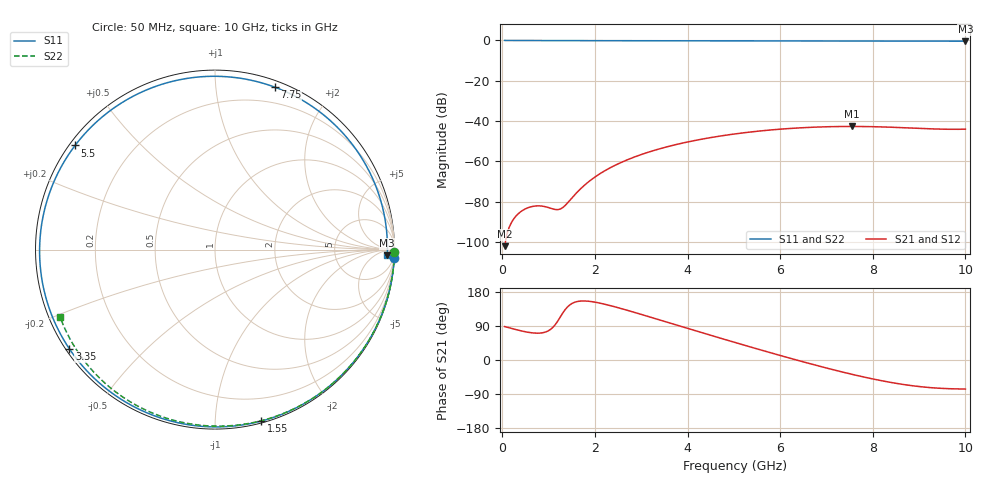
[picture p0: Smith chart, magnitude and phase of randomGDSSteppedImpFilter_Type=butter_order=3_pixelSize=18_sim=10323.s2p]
! freq	dB(S11)	phase(S11)	dB(S12)	phase(S12)
!  dB(S21)	phase(S21)	dB(S22)	phase(S22)
!S-par simulation data
#  GHz  S  DB  R 50
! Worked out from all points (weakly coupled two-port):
!   200 points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, 50 MHz to 10 GHz, reference 50 ohm
!   highest |S21| = -42.63 dB at 7.55 GHz (marker M1); lowest = -102.0 dB at 50 MHz (marker M2)
!   lowest |S11| = -0.4 dB at 10 GHz (marker M3), VSWR 49.21, Z = 1.5e+03 - j1.2e+03 ohm
!   |S11| at or under -10 dB: nowhere
!   |S22| runs from -0.5 to 0.0 dB; largest |S21 - S12| = 0
!   S11 on the Smith chart (normalised r, x): 50 MHz: 0, -45; 1.55 GHz: 0.01, -1.30; 3.35 GHz: 0.01, -0.31; 5.5 GHz: 0.02, +0.33; 7.75 GHz: 0.06, +1.43; 10 GHz: 30, -24
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0.05  -0.00 -2.6  -101.99 88.3  -101.99 88.3  -0.00 -0.9
0.35  -0.02 -17.7  -85.80 78.6  -85.80 78.6  -0.01 -6.3
0.65  -0.04 -32.7  -82.30 71.6  -82.30 71.6  -0.01 -11.7
1.05  -0.07 -52.0  -83.22 81.5  -83.22 81.5  -0.02 -18.9
1.4  -0.08 -68.3  -80.78 139.0  -80.78 139.0  -0.03 -25.1
1.55  -0.09 -75.0  -76.88 151.8  -76.88 151.8  -0.04 -27.7
1.75  -0.10 -83.7  -72.27 155.8  -72.27 155.8  -0.04 -31.2
2.05  -0.11 -96.4  -66.94 151.5  -66.94 151.5  -0.05 -36.5
2.4  -0.13 -110.5  -62.30 141.4  -62.30 141.4  -0.05 -42.5
2.9  -0.14 -129.5  -57.38 124.0  -57.38 124.0  -0.07 -50.9
3.35  -0.16 -145.7  -54.03 107.5  -54.03 107.5  -0.08 -58.4
3.4  -0.16 -147.4  -53.70 105.7  -53.70 105.7  -0.08 -59.3
4.2  -0.19 -174.5  -49.40 76.2  -49.40 76.2  -0.10 -72.2
5.05  -0.23 157.8  -46.25 45.4  -46.25 45.4  -0.13 -85.4
5.5  -0.25 143.4  -45.03 29.4  -45.03 29.4  -0.15 -92.2
6.1  -0.27 124.0  -43.81 8.5  -43.81 8.5  -0.18 -101.1
6.7  -0.29 104.4  -43.03 -11.5  -43.03 -11.5  -0.21 -109.9
7.55  -0.31 76.4  -42.63 -37.8  -42.63 -37.8  -0.27 -122.0
7.75  -0.31 69.8  -42.66 -43.4  -42.66 -43.4  -0.29 -124.8
8.35  -0.32 50.0  -42.98 -58.3  -42.98 -58.3  -0.34 -133.2
9.2  -0.32 22.6  -43.77 -72.5  -43.77 -72.5  -0.43 -145.1
10  -0.35 -1.9  -43.98 -76.7  -43.98 -76.7  -0.53 -156.5
